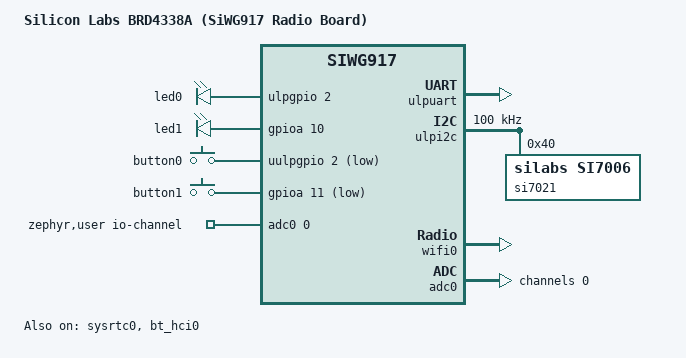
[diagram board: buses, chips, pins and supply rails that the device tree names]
/*
 * Copyright (c) 2023 Antmicro
 * Copyright (c) 2024 Silicon Laboratories Inc.
 * SPDX-License-Identifier: Apache-2.0
 */

/dts-v1/;
#include <silabs/siwg917m111mgtba.dtsi>
#include <zephyr/dt-bindings/adc/silabs-siwx91x-adc.h>
#include <zephyr/dt-bindings/gpio/gpio.h>
#include <zephyr/dt-bindings/input/input-event-codes.h>
#include <zephyr/dt-bindings/pinctrl/silabs/siwx91x-pinctrl.h>
#include <freq.h>
#include "siwx917_rb4338a-pinctrl.dtsi"

/ {
	model = "Silicon Labs BRD4338A (SiWG917 Radio Board)";
	compatible = "silabs,x917_rb4338a", "silabs,siwg917";

	chosen {
		zephyr,bt-hci = &bt_hci0;
		zephyr,code-partition = &code_partition;
		zephyr,console = &ulpuart;
		zephyr,shell-uart = &ulpuart;
		zephyr,sram = &sram0;
		zephyr,uart-pipe = &ulpuart;
	};

	aliases {
		dht0 = &si7021;
		led0 = &led0;
		led1 = &led1;
		sw0 = &button0;
		sw1 = &button1;
		adc0 = &adc0;
	};

	leds {
		compatible = "gpio-leds";

		led0: led_0 {
			gpios = <&ulpgpio 2 GPIO_ACTIVE_HIGH>;
		};

		led1: led_1 {
			gpios = <&gpioa 10 GPIO_ACTIVE_HIGH>;
		};
	};

	buttons {
		compatible = "gpio-keys";

		button0: button_0 {
			gpios = <&uulpgpio 2 GPIO_ACTIVE_LOW>;
			zephyr,code = <INPUT_KEY_0>;
		};

		button1: button_1 {
			gpios = <&gpioa 11 GPIO_ACTIVE_LOW>;
			zephyr,code = <INPUT_KEY_1>;
		};
	};

	zephyr,user {
		io-channels = <&adc0 0>;
	};
};

&cpu0 {
	clock-frequency = <180000000>;
};

&ulpuart {
	pinctrl-0 = <&ulpuart_default>;
	pinctrl-names = "default";
	status = "okay";
};

&ulpi2c {
	clock-frequency = <DT_FREQ_K(100)>;
	pinctrl-0 = <&ulpi2c_default>;
	pinctrl-names = "default";
	status = "okay";

	si7021: si7021@40 {
		compatible = "silabs,si7006";
		reg = <0x40>;
	};
};

&flash0 {
	partitions {
		compatible = "fixed-partitions";
		#address-cells = <1>;
		#size-cells = <1>;

		code_partition: partition@202000 {
			reg = <0x00202000 DT_SIZE_K(2008)>;
			label = "code_partition";
		};

		storage_partition: partition@3f8000 {
			reg = <0x003f8000 DT_SIZE_K(32)>;
			label = "storage";
		};
	};
};

&sysrtc0 {
	status = "okay";
};

&bt_hci0 {
	status = "okay";
};

&wifi0 {
	status = "okay";
};

&adc0 {
	pinctrl-0 = <&adc0_default>;
	pinctrl-names = "default";
	silabs,adc-ref-voltage = <3300>;

	channel@0 {
		reg = <0>;
		zephyr,gain = "ADC_GAIN_1";
		zephyr,reference = "ADC_REF_INTERNAL";
		zephyr,acquisition-time = <0>;
		zephyr,resolution = <12>;
		zephyr,input-positive = <SIWX91X_ADC_INPUT_ULP1>;
	};

	status = "okay";
};
